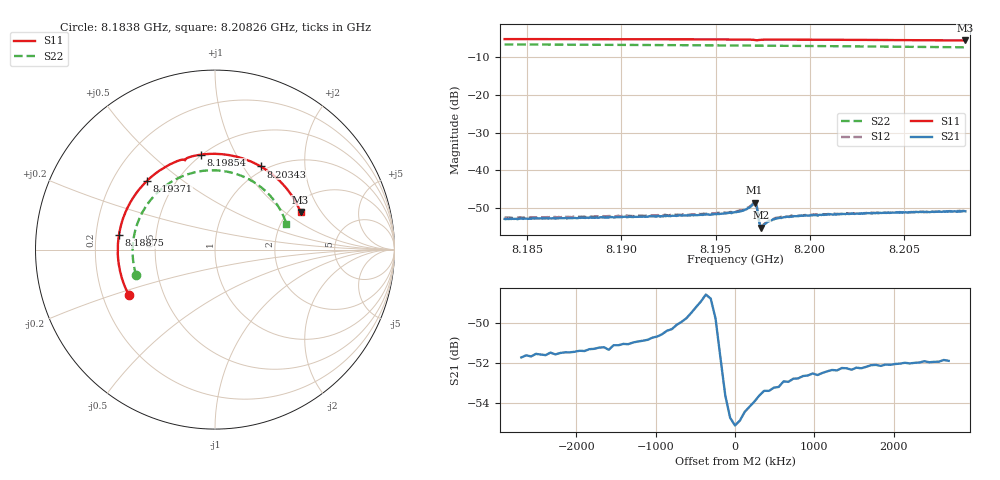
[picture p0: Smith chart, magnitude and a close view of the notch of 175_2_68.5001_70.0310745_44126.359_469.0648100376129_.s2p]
#  HZ  S  RI  R  50.00
! Rohde & Schwarz Vector Network Analyzer
! Rohde-Schwarz,ZNB20-2Port,1311601062101988,3.16
! Created: UTC 3/20/2024, 4:56:22 PM
! freq[Hz]  re:S11  im:S11  re:S21  im:S21  re:S12  im:S12  re:S22  im:S22
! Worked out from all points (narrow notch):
!   401 points, 8.1838 GHz to 8.20826 GHz, reference 50 ohm
!   highest |S21| = -48.55 dB at 8.19707 GHz (marker M1); lowest = -55.1 dB at 8.19744 GHz (marker M2)
!   notch at M2: 3.2 dB deep, 457 kHz wide at half that depth
!   lowest |S11| = -5.7 dB at 8.20826 GHz (marker M3), VSWR 3.17, Z = 115 + j65.9 ohm
!   |S11| at or under -10 dB: nowhere
!   |S22| runs from -7.5 to -6.7 dB; largest |S21 - S12| = 0.0002
!   S11 on the Smith chart (normalised r, x): 8.1838 GHz: 0.31, -0.23; 8.18875 GHz: 0.30, +0.07; 8.19371 GHz: 0.35, +0.37; 8.19854 GHz: 0.49, +0.73; 8.20343 GHz: 0.94, +1.20; 8.20826 GHz: 2.29, +1.32
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8.183799e9  -0.4793 -0.2553  0.000855 -0.00211  0.000813 -0.00224  -0.4388 -0.1437
8.18594e9  -0.53 -0.1152  0.000247 -0.00229  0.000194 -0.00238  -0.4587 -0.0267
8.187897e9  -0.5415 0.0205  -0.000303 -0.00235  -0.000388 -0.00242  -0.4503 0.0812
8.188753e9  -0.5355 0.0801  -0.000559 -0.00229  -0.000669 -0.00238  -0.4383 0.1271
8.191995e9  -0.4548 0.2908  -0.0015 -0.00199  -0.00158 -0.00199  -0.3525 0.2839
8.193708e9  -0.3785 0.3836  -0.00197 -0.00163  -0.00205 -0.00161  -0.2838 0.3498
8.196032e9  -0.2445 0.4779  -0.0026 -0.00106  -0.00269 -0.00102  -0.1709 0.413
8.196521e9  -0.2121 0.4924  -0.00284 -0.000882  -0.00293 -0.000772  -0.1449 0.4219
8.197072e9  -0.171 0.5003  -0.00373 0.000235  -0.00375 0.00043  -0.1149 0.4298
8.197133e9  -0.1677 0.4984  -0.00356 0.000795  -0.00361 0.000938  -0.1116 0.4306
8.197316e9  -0.1655 0.5021  -0.0019 0.000835  -0.00189 0.000933  -0.1016 0.4327
8.197377e9  -0.1625 0.5055  -0.00177 0.000464  -0.00177 0.000587  -0.0984 0.4336
8.197438e9  -0.1585 0.5084  -0.00173 0.000214  -0.00178 0.000312  -0.0951 0.4343
8.197561e9  -0.1494 0.5129  -0.00189 -8.11e-05  -0.00194 2.53e-05  -0.0883 0.4356
8.197928e9  -0.1228 0.5207  -0.00216 -0.00026  -0.00223 -0.000182  -0.0677 0.4385
8.198539e9  -0.0794 0.5288  -0.00237 -0.000158  -0.00242 2.03e-06  -0.0332 0.4415
8.20013e9  0.0333 0.5319  -0.00252 0.000332  -0.00254 0.000479  0.0567 0.4362
8.201781e9  0.1477 0.5101  -0.00247 0.000946  -0.00248 0.00104  0.1473 0.4111
8.203432e9  0.2548 0.4634  -0.00225 0.00153  -0.0022 0.00162  0.231 0.3666
8.204228e9  0.3018 0.4326  -0.00208 0.00178  -0.00205 0.00182  0.2675 0.3386
8.206368e9  0.4098 0.3264  -0.00152 0.00236  -0.00146 0.00245  0.3497 0.2449
8.208264e9  0.4765 0.2094  -0.000846 0.00275  -0.000803 0.00282  0.3978 0.1436
